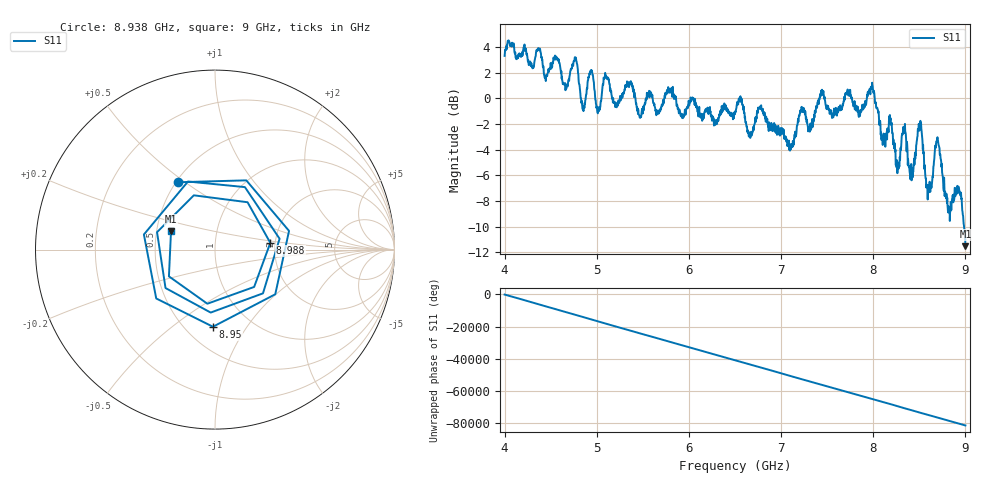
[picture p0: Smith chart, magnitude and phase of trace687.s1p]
! Created with skrf 1.8.0 (http://scikit-rf.org).
# Hz S RI R 50.0
!freq ReS11 ImS11
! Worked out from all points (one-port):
!   1601 points, 4 GHz to 9 GHz, reference 50 ohm
!   lowest |S11| = -11.5 dB at 9 GHz (marker M1), VSWR 1.72, Z = 29.8 + j6.53 ohm
!   |S11| at or under -10 dB: 8.985629 GHz to end of sweep
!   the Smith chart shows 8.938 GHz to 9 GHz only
!   S11 on the Smith chart (normalised r, x): 8.938 GHz: 0.51, +0.47; 8.95 GHz: 0.67, -0.71; 8.988 GHz: 1.88, +0.16; 9 GHz: 0.60, +0.13
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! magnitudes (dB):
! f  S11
! 4 GHz  3.3
! 4.625 GHz  1.4
! 4.766 GHz  3.1
! 4.85 GHz  -0.8
! 4.934 GHz  2.1
! 5.012 GHz  -1.2
! 5.1 GHz  1.8
! 5.25 GHz  -0.1
! 5.875 GHz  -0.6
! 6.5 GHz  -1.2
! 7.125 GHz  -3.7
! 7.438 GHz  0.5
! 7.75 GHz  0.7
! 7.988 GHz  1.2
! 8.106 GHz  -3.1
! 8.188 GHz  -1.5
! 8.269 GHz  -5.0
! 8.334 GHz  -2.2
! 8.375 GHz  -5.2
! 8.422 GHz  -5.5
! 8.506 GHz  -2.1
! 8.6 GHz  -7.0
! 8.694 GHz  -3.2
! 8.812 GHz  -8.9
! 8.938 GHz  -7.4
! 8.95 GHz  -7.3
! 8.988 GHz  -10.2
! 9 GHz  -11.5
